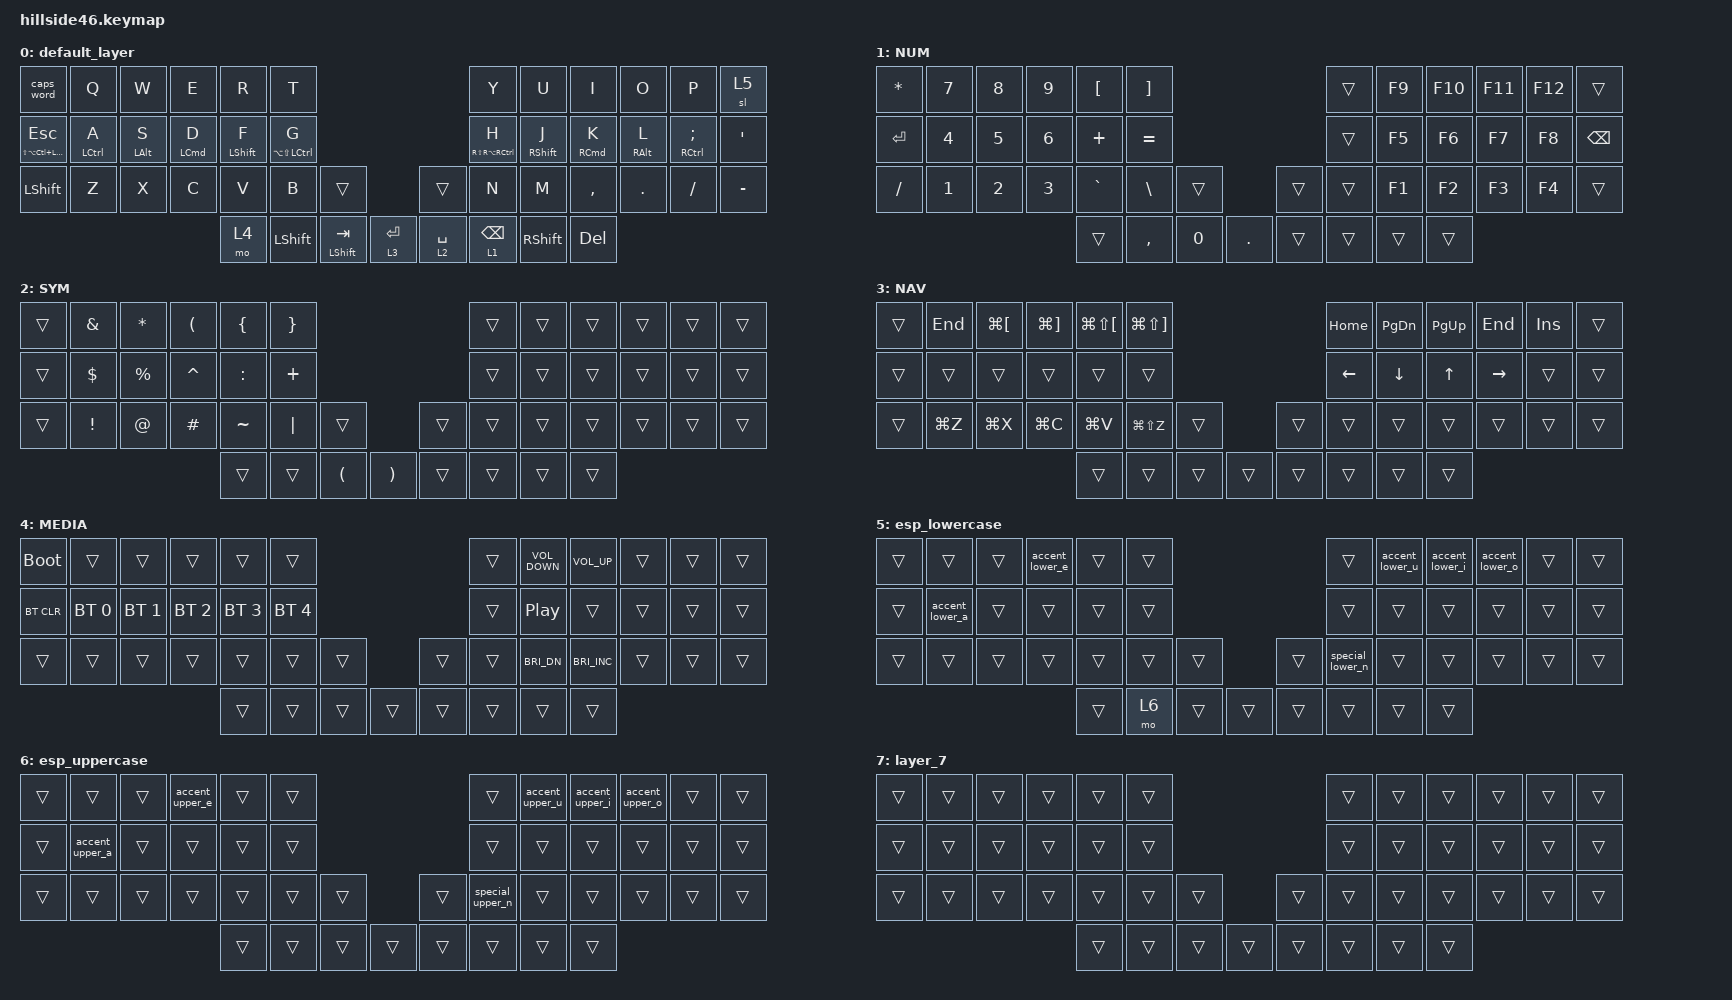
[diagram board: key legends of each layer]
/*
 * Copyright (c) 2021-2022 The ZMK Contributors
 *
 * SPDX-License-Identifier: MIT
 */

#include <behaviors.dtsi>
#include <dt-bindings/zmk/bt.h>
#include <dt-bindings/zmk/keys.h>

&lt { quick-tap-ms = <175>; };

/ {
    macros {
        accent_lower_a: accent_lower_a {
            compatible = "zmk,behavior-macro";
            #binding-cells = <0>;
            bindings = <&kp LA(E) &kp A &to 0>;
            label = "ACCENT_LOWER_A";
        };

        accent_lower_e: accent_lower_e {
            compatible = "zmk,behavior-macro";
            #binding-cells = <0>;
            bindings = <&kp LA(E) &kp E &to 0>;
            label = "ACCENT_LOWER_E";
        };

        accent_lower_i: accent_lower_i {
            compatible = "zmk,behavior-macro";
            #binding-cells = <0>;
            bindings = <&kp LA(E) &kp I &to 0>;
            label = "ACCENT_LOWER_I";
        };

        accent_lower_o: accent_lower_o {
            compatible = "zmk,behavior-macro";
            #binding-cells = <0>;
            bindings = <&kp LA(E) &kp O &to 0>;
            label = "ACCENT_LOWER_O";
        };

        accent_lower_u: accent_lower_u {
            compatible = "zmk,behavior-macro";
            #binding-cells = <0>;
            bindings = <&kp LA(E) &kp U &to 0>;
            label = "ACCENT_LOWER_U";
        };

        accent_upper_a: accent_upper_a {
            compatible = "zmk,behavior-macro";
            #binding-cells = <0>;
            bindings = <&kp LA(E) &kp LS(A) &to 0>;
            label = "ACCENT_UPPER_A";
        };

        accent_upper_e: accent_upper_e {
            compatible = "zmk,behavior-macro";
            #binding-cells = <0>;
            bindings = <&kp LA(E) &kp LS(E) &to 0>;
            label = "ACCENT_UPPER_E";
        };

        accent_upper_i: accent_upper_i {
            compatible = "zmk,behavior-macro";
            #binding-cells = <0>;
            bindings = <&kp LA(E) &kp LS(I) &to 0>;
            label = "ACCENT_UPPER_I";
        };

        accent_upper_o: accent_upper_o {
            compatible = "zmk,behavior-macro";
            #binding-cells = <0>;
            bindings = <&kp LA(E) &kp LS(O) &to 0>;
            label = "ACCENT_UPPER_O";
        };

        accent_upper_u: accent_upper_u {
            compatible = "zmk,behavior-macro";
            #binding-cells = <0>;
            bindings = <&kp LA(E) &kp LS(U) &to 0>;
            label = "ACCENT_UPPER_U";
        };

        special_lower_n: special_lower_n {
            compatible = "zmk,behavior-macro";
            #binding-cells = <0>;
            bindings = <&kp LA(N) &kp N &to 0>;
            label = "SPECIAL_LOWER_N";
        };

        special_upper_n: special_upper_n {
            compatible = "zmk,behavior-macro";
            #binding-cells = <0>;
            bindings = <&kp LA(N) &kp LS(N) &to 0>;
            label = "SPECIAL_UPPER_N";
        };
    };

    behaviors {
        hml: hml {
            compatible = "zmk,behavior-hold-tap";
            label = "HML";
            bindings = <&kp>, <&kp>;

            #binding-cells = <2>;
            hold-trigger-key-positions = <18 19 20 21 22 6 7 8 9 10 11 23 35 34 33 32 31 42 43 45 44 36 37>;
            flavor = "balanced";
            hold-trigger-on-release;
            quick-tap-ms = <175>;
            tapping-term-ms = <280>;
            require-prior-idle-ms = <150>;
        };

        hmr: hmr {
            compatible = "zmk,behavior-hold-tap";
            label = "HMR";
            bindings = <&kp>, <&kp>;

            #binding-cells = <2>;
            hold-trigger-key-positions = <17 16 15 14 13 38 24 0 12 1 25 26 2 3 4 5 29 28 27 39 40 41 30>;
            flavor = "balanced";
            hold-trigger-on-release;
            quick-tap-ms = <175>;
            tapping-term-ms = <280>;
            require-prior-idle-ms = <150>;
        };

        hmrj: hmrj {
            compatible = "zmk,behavior-hold-tap";
            label = "HMRJ";
            bindings = <&kp>, <&kp>;

            #binding-cells = <2>;
            hold-trigger-key-positions = <17 16 15 14 13 38 24 0 12 1 25 26 2 3 4 5 29 28 27 40 30 41 39>;
            flavor = "balanced";
            hold-trigger-on-release;
            quick-tap-ms = <175>;
            tapping-term-ms = <280>;
            require-prior-idle-ms = <25>;
        };
    };

    keymap {
        compatible = "zmk,keymap";

        default_layer {
            /* QWERTY
 * -------------------------------------------------------------------------------------------------------------------------------------
 * | `     |   Q   |   W   |   E   |   R   |   T   |-----------------------------------|   Y   |   U   |   I   |   O   |   P   | BKSPC |
 * | TAB   |   A   |   S   |   D   |   F   |   G   |-----------------------------------|   H   |   J   |   K   |   L   |   ;   | ENTER |
 * | CTRL  |   Z   |   X   |   C   |   V   |   B   |  ESC  |-------------------|  CAPS |   N   |   M   |   ,   |   .   |   /   |   '   |
 *                                 |  GUI  |  ALT  |SK SHFT|  Nav  |---|  Sym  | SPACE |  ALT  |  GUI  |
 */

            bindings = <
&caps_word                         &kp Q         &kp W            &kp E                &kp R              &kp T                                                                                  &kp Y                 &kp U                &kp I                 &kp O             &kp P            &sl 5
&hml LS(LA(LC(LEFT_COMMAND))) ESC  &hml LCTRL A  &hml LEFT_ALT S  &hml LEFT_COMMAND D  &hml LEFT_SHIFT F  &hml LA(LS(LCTRL)) G                                                                   &hmr RS(RA(RCTRL)) H  &hmrj RIGHT_SHIFT J  &hmr RIGHT_COMMAND K  &hmr RIGHT_ALT L  &hmr RCTRL SEMI  &kp SQT
&kp LSHFT                          &kp Z         &kp X            &kp C                &kp V              &kp B                 &trans                                          &trans           &kp N                 &kp M                &kp COMMA             &kp DOT           &kp FSLH         &kp MINUS
                                                                                       &mo 4              &kp LEFT_SHIFT        &mt LEFT_SHIFT TAB  &lt 3 ENTER    &lt 2 SPACE  &lt 1 BACKSPACE  &kp RIGHT_SHIFT       &kp DELETE
            >;
        };

        NUM {
            /* NAV   
 * -------------------------------------------------------------------------------------------------------------------------------------
 * | Copy  |   1   |   2   |   3   |   4   |   5   |-----------------------------------|   6   |   7   |   8   |   9   |   0   | BSPC  |
 * | Cut   |  GUI  |  Alt  | Ctrl  | Shift | Paste |-----------------------------------| PG UP |  Left |  Up   |  Down | Right | PG DN |
 * | Ctrl  |  F1   |  F2   |  F3   |  F4   |  F5   |  UnDo |-------------------| ReDo  |  F6   |  F7   |  F8   |  F9   |  F10  | Ctrl  |
 *                                 |       |       |       |       |---| ADJ_L |       |       |       |
 */

            bindings = <
&kp ASTRK  &kp N7        &kp N8        &kp N9        &kp LEFT_BRACKET  &kp RIGHT_BRACKET                                           &trans  &kp F9  &kp F10  &kp F11  &kp F12  &trans
&kp ENTER  &kp NUMBER_4  &kp N5        &kp NUMBER_6  &kp PLUS          &kp EQUAL                                                   &trans  &kp F5  &kp F6   &kp F7   &kp F8   &kp BACKSPACE
&kp SLASH  &kp NUMBER_1  &kp NUMBER_2  &kp NUMBER_3  &kp GRAVE         &kp BACKSLASH      &trans                           &trans  &trans  &kp F1  &kp F2   &kp F3   &kp F4   &trans
                                                     &trans            &kp COMMA          &kp NUMBER_0  &kp DOT    &trans  &trans  &trans  &trans
            >;
        };

        SYM {
            bindings = <
&trans  &kp AMPERSAND    &kp ASTERISK  &kp LEFT_PARENTHESIS  &kp LEFT_BRACE  &kp RIGHT_BRACE                                                                 &trans  &trans  &trans  &trans  &trans  &trans
&trans  &kp DOLLAR       &kp PERCENT   &kp CARET             &kp COLON       &kp PLUS                                                                        &trans  &trans  &trans  &trans  &trans  &trans
&trans  &kp EXCLAMATION  &kp AT_SIGN   &kp HASH              &kp TILDE       &kp PIPE         &trans                                                 &trans  &trans  &trans  &trans  &trans  &trans  &trans
                                                             &trans          &trans           &kp LEFT_PARENTHESIS  &kp RIGHT_PARENTHESIS    &trans  &trans  &trans  &trans
            >;
        };

        NAV {
            bindings = <
&trans  &kp END    &kp LG(LEFT_BRACKET)  &kp LG(RIGHT_BRACKET)  &kp LG(LS(LEFT_BRACKET))  &kp LG(LS(RIGHT_BRACKET))                                    &kp HOME        &kp PG_DN  &kp PG_UP     &kp END    &kp INS  &trans
&trans  &trans     &trans                &trans                 &trans                    &trans                                                       &kp LEFT_ARROW  &kp DOWN   &kp UP_ARROW  &kp RIGHT  &trans   &trans
&trans  &kp LG(Z)  &kp LG(X)             &kp LG(C)              &kp LG(V)                 &kp LG(LS(Z))              &trans                    &trans  &trans          &trans     &trans        &trans     &trans   &trans
                                                                &trans                    &trans                     &trans  &trans    &trans  &trans  &trans          &trans
            >;
        };

        MEDIA {
            // -----------------------------------------------------------------------------------------
            // |  TAB |  1  |  2  |  3  |  4  |  5  |   |  6  |  7  |  8  |  9  |  0  | BSPC |
            // | BTCLR| BT1 | BT2 | BT3 | BT4 | BT5 |   | LFT | DWN |  UP | RGT |     |      |
            // | SHFT |     |     |     |     |     |   |     |     |     |     |     |      |
            //                    | GUI |     | SPC |   | ENT |     | ALT |

            bindings = <
&bootloader  &trans        &trans        &trans        &trans        &trans                                          &trans  &kp C_VOLUME_DOWN  &kp C_VOLUME_UP       &trans  &trans  &trans
&bt BT_CLR   &bt BT_SEL 0  &bt BT_SEL 1  &bt BT_SEL 2  &bt BT_SEL 3  &bt BT_SEL 4                                    &trans  &kp C_PLAY_PAUSE   &trans                &trans  &trans  &trans
&trans       &trans        &trans        &trans        &trans        &trans        &trans                    &trans  &trans  &kp C_BRI_DN       &kp C_BRIGHTNESS_INC  &trans  &trans  &trans
                                                       &trans        &trans        &trans  &trans    &trans  &trans  &trans  &trans
            >;
        };

        esp_lowercase {
            bindings = <
&trans  &trans           &trans  &accent_lower_e  &trans  &trans                                    &trans            &accent_lower_u  &accent_lower_i  &accent_lower_o  &trans  &trans
&trans  &accent_lower_a  &trans  &trans           &trans  &trans                                    &trans            &trans           &trans           &trans           &trans  &trans
&trans  &trans           &trans  &trans           &trans  &trans  &trans                    &trans  &special_lower_n  &trans           &trans           &trans           &trans  &trans
                                                  &trans  &mo 6   &trans  &trans    &trans  &trans  &trans            &trans
            >;
        };

        esp_uppercase {
            bindings = <
&trans  &trans           &trans  &accent_upper_e  &trans  &trans                                    &trans            &accent_upper_u  &accent_upper_i  &accent_upper_o  &trans  &trans
&trans  &accent_upper_a  &trans  &trans           &trans  &trans                                    &trans            &trans           &trans           &trans           &trans  &trans
&trans  &trans           &trans  &trans           &trans  &trans  &trans                    &trans  &special_upper_n  &trans           &trans           &trans           &trans  &trans
                                                  &trans  &trans  &trans  &trans    &trans  &trans  &trans            &trans
            >;
        };

        layer_7 {
            bindings = <
&trans  &trans  &trans  &trans  &trans  &trans                                    &trans  &trans  &trans  &trans  &trans  &trans
&trans  &trans  &trans  &trans  &trans  &trans                                    &trans  &trans  &trans  &trans  &trans  &trans
&trans  &trans  &trans  &trans  &trans  &trans  &trans                    &trans  &trans  &trans  &trans  &trans  &trans  &trans
                                &trans  &trans  &trans  &trans    &trans  &trans  &trans  &trans
            >;
        };
    };
};
